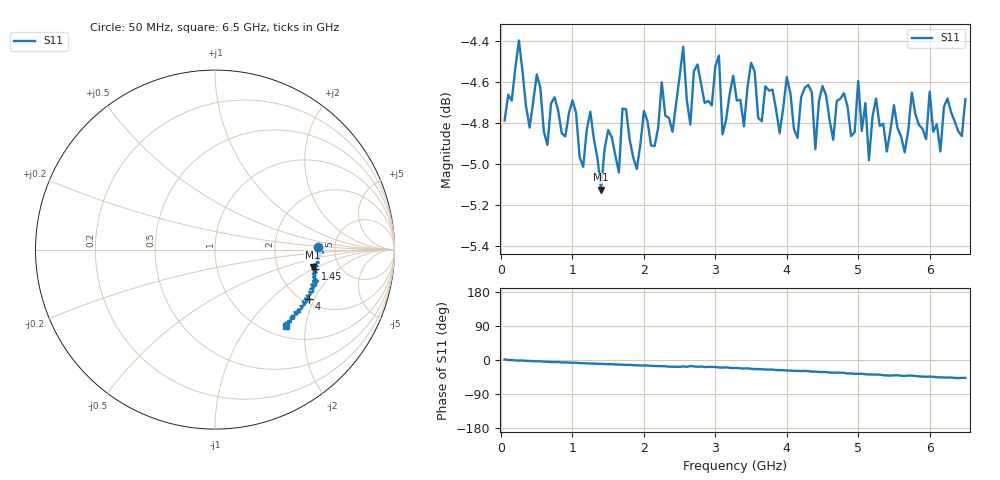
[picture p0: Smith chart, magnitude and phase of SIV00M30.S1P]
! (c) 1999  Infineon Technologies AG, Munich
! Infineon Technologies  Discrete & RF Semiconductors
! BAT24-02LS
! Si Schottky Diode in TSSLP-2
! IF = 0.3 mA
! S-Parameters:  July  2007
# GHz  S  MA  R  50
!  f  S11
! GHz  MAG  ANG
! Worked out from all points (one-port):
!   130 points, 50 MHz to 6.5 GHz, reference 50 ohm
!   lowest |S11| = -5.1 dB at 1.4 GHz (marker M1), VSWR 3.49, Z = 161 - j44.7 ohm
!   |S11| at or under -10 dB: nowhere
!   S11 on the Smith chart (normalised r, x): 50 MHz: 3.71, +0.19; 1.45 GHz: 3.28, -1.02; 4 GHz: 2.15, -1.81; 6.5 GHz: 1.21, -1.56
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0.05  0.5762 1.7
0.25  0.6026 -1.5
0.4  0.5739 -2.6
0.5  0.5912 -3.4
0.9  0.5711 -6.4
1.25  0.579 -9.3
1.4  0.5543 -10.0
1.45  0.5672 -10.7
1.65  0.5597 -11.9
1.7  0.58 -12.5
1.9  0.5607 -13.8
2.5  0.5906 -18.1
2.55  0.6005 -17.0
2.65  0.5749 -15.9
2.75  0.5946 -18.0
3.1  0.5717 -20.2
3.3  0.5827 -20.8
4  0.5904 -27.7
4.1  0.5735 -28.3
4.3  0.5878 -29.3
4.4  0.567 -30.5
4.9  0.5712 -35.4
5.45  0.573 -41.3
5.7  0.5729 -41.1
5.95  0.5702 -44.2
6  0.5856 -43.7
6.15  0.5663 -45.8
6.5  0.5831 -47.1
